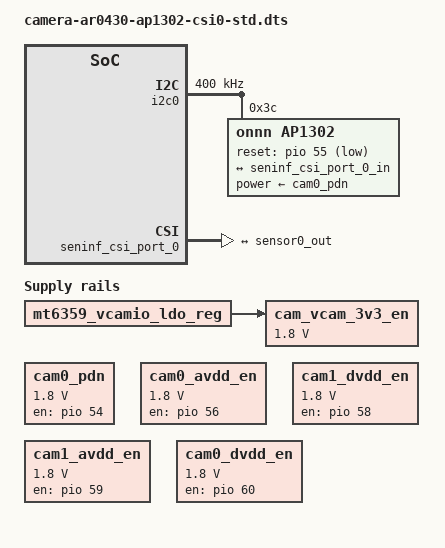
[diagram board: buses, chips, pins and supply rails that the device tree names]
// SPDX-License-Identifier: GPL-2.0
/*
 * Copyright (c) 2023 MediaTek Inc.
 *
 */

#include <dt-bindings/clock/mt8195-clk.h>
#include <dt-bindings/gpio/gpio.h>
#include <dt-bindings/pinctrl/mt8195-pinfunc.h>

/dts-v1/;
/plugin/;

#include "isp70.dtsi"

/ {
	fragment@4 {
		target-path = "/";
		__overlay__ {
			cam0_pdn: cam0-pdn-regulator {
				compatible = "regulator-fixed";
				regulator-name = "cam0_pdn";
				regulator-min-microvolt = <1800000>;
				regulator-max-microvolt = <1800000>;
				gpio = <&pio 54 0>;
				startup-delay-us = <18000>;
				enable-active-high;
			};

			cam0_avdd_en: cam0-avdd-en-regulator {
				compatible = "regulator-fixed";
				regulator-name = "cam0_avdd_en";
				regulator-min-microvolt = <1800000>;
				regulator-max-microvolt = <1800000>;
				gpio = <&pio 56 0>;
				startup-delay-us = <18000>;
				enable-active-high;
				regulator-always-on;
				pinctrl-names = "default";
				pinctrl-0 = <&cam0_avdd_en_pins>;
			};

			cam1_dvdd_en: cam1-dvdd-en-regulator {
				compatible = "regulator-fixed";
				regulator-name = "cam1_dvdd_en";
				regulator-min-microvolt = <1800000>;
				regulator-max-microvolt = <1800000>;
				gpio = <&pio 58 0>;
				startup-delay-us = <18000>;
				enable-active-high;
				regulator-always-on;
				pinctrl-names = "default";
				pinctrl-0 = <&cam1_dvdd_en_pins>;
			};

			cam1_avdd_en: cam1-avdd-en-regulator {
				compatible = "regulator-fixed";
				regulator-name = "cam1_avdd_en";
				regulator-min-microvolt = <1800000>;
				regulator-max-microvolt = <1800000>;
				gpio = <&pio 59 0>;
				startup-delay-us = <18000>;
				enable-active-high;
				regulator-always-on;
				pinctrl-names = "default";
				pinctrl-0 = <&cam1_avdd_en_pins>;
			};

			cam0_dvdd_en: cam0-dvdd-en-regulator {
				compatible = "regulator-fixed";
				regulator-name = "cam0_dvdd_en";
				regulator-min-microvolt = <1800000>;
				regulator-max-microvolt = <1800000>;
				gpio = <&pio 60 0>;
				startup-delay-us = <18000>;
				enable-active-high;
				regulator-always-on;
				pinctrl-names = "default";
				pinctrl-0 = <&cam0_dvdd_en_pins>;
			};

			cam_vcam_3v3_en: cam-vcam-3v3-en-regulator {
				compatible = "regulator-fixed";
				regulator-name = "cam_vcam_3v3_en";
				regulator-min-microvolt = <1800000>;
				regulator-max-microvolt = <1800000>;
				vin-supply = <&mt6359_vcamio_ldo_reg>;
				enable-active-high;
				regulator-always-on;
			};
		};
	};

	fragment@5 {
		target = <&pio>;
		__overlay__ {
			cam0_pins_default: cam0_pins_default {
				pins_cmd_dat {
					pinmux = <PINMUX_GPIO54__FUNC_GPIO54>,
						 <PINMUX_GPIO55__FUNC_GPIO55>,
						 <PINMUX_GPIO22__FUNC_CMMCLK0>;
					drive-strength = <MTK_DRIVE_8mA>;
				};
			};

			cam0_avdd_en_pins: cam0-avdd-en-pins {
				pins_cmd_dat {
					pinmux = <PINMUX_GPIO56__FUNC_GPIO56>;
				};
			};

			cam1_dvdd_en_pins: cam1-dvdd-en-pins {
				pins_cmd_dat {
					pinmux = <PINMUX_GPIO58__FUNC_GPIO58>;
				};
			};

			cam1_avdd_en_pins: cam1-avdd-en-pins {
				pins_cmd_dat {
					pinmux = <PINMUX_GPIO59__FUNC_GPIO59>;
				};
			};

			cam0_dvdd_en_pins: cam0-dvdd-en-pins {
				pins_cmd_dat {
					pinmux = <PINMUX_GPIO60__FUNC_GPIO60>;
				};
			};
		};
	};

	fragment@6 {
		target = <&i2c0>;
		__overlay__ {
			clock-frequency = <400000>;

			ap1302@3c {
				compatible = "onnn,ap1302";

				reg = <0x3c>;
				status = "okay";

				pinctrl-names = "default";
				pinctrl-0 = <&cam0_pins_default>;

				clocks = <&topckgen CLK_TOP_CAMTG>;
				assigned-clocks = <&topckgen CLK_TOP_CAMTG>;
				assigned-clock-parents = <&topckgen CLK_TOP_UNIVPLL_192M_D4>;

				reset-gpios = <&pio 55 GPIO_ACTIVE_LOW>;

				power-supply = <&cam0_pdn>;

				orientation = <0>;
				rotation = <0>;

				sensors {
					#address-cells = <1>;
					#size-cells = <0>;

					onnn,model = "onnn,ar0430";

					sensor@0 {
						reg = <0>;
					};
				};

				port {
					sensor0_out: endpoint {
						remote-endpoint = <&seninf_csi_port_0_in>;
						data-lanes = <1 2 3 4>;
						link-frequencies = /bits/ 64 <480000000>;
					};
				};
			};
		};
	};

	fragment@7 {
		target = <&seninf_top>;
		__overlay__ {
			seninf_csi_port_0: seninf_csi_port_0 {
				compatible = "mediatek,seninf";
				csi-port = "0";
				hs_trail_parameter = <0x08>;

				port {
					seninf_csi_port_0_in: endpoint {
						remote-endpoint = <&sensor0_out>;
						data-lanes = <1 2 3 4>;
					};
				};
			};
		};
	};

	fragment@8 {
		target = <&imgsys_fw>;
		__overlay__ {
			status = "disabled";
		};
	};

	fragment@9 {
		target = <&hcp>;
		__overlay__ {
			status = "disabled";
		};
	};

	fragment@10 {
		target-path = "/soc/imgsys_larb";
		__overlay__ {
			status = "disabled";
		};
	};

	fragment@11 {
		target = <&ipesys_me>;
		__overlay__ {
			status = "disabled";
		};
	};
};
